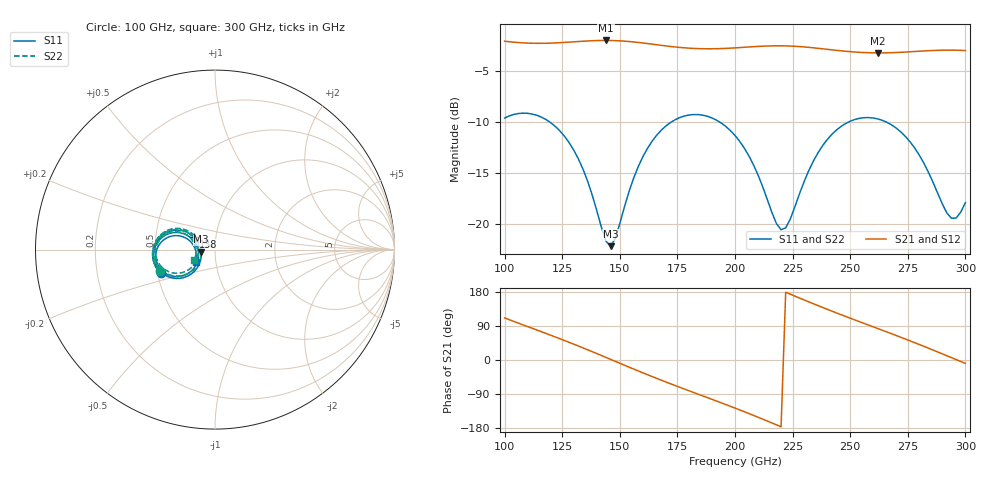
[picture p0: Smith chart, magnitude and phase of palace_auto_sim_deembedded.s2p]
! Created with skrf 1.11.0 (http://scikit-rf.org).
# GHz S DB R 50.0
!freq dBS11 angS11 dBS21 angS21 dBS12 angS12 dBS22 angS22
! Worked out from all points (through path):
!   101 points, 100 GHz to 300 GHz, reference 50 ohm
!   highest |S21| = -1.99 dB at 144 GHz (marker M1); lowest = -3.2 dB at 262 GHz (marker M2)
!   group delay of S21, straight-line fit = 6.68 ps
!   lowest |S11| = -22.2 dB at 146 GHz (marker M3), VSWR 1.17, Z = 42.9 - j1.06 ohm
!   |S11| at or under -10 dB: 119.6 GHz to 172.3 GHz (52.71 GHz wide, 36.1 % of centre); 193.3 GHz to 249.3 GHz (55.93 GHz wide, 25.3 % of centre); 265.7 GHz to end of sweep
!   |S22| runs from -22.2 to -9.1 dB; largest |S21 - S12| = 9e-14
!   S11 on the Smith chart (normalised r, x): 100 GHz: 0.52, -0.15; 138 GHz: 0.78, +0.11; 300 GHz: 0.80, -0.11
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100  -9.60 -156.5  -2.07 111.0  -2.07 111.0  -9.62 -158.6
108  -9.13 -171.4  -2.23 92.7  -2.23 92.7  -9.14 -173.7
118  -9.76 170.6  -2.27 70.0  -2.27 70.0  -9.77 168.1
126  -11.40 157.4  -2.19 51.4  -2.19 51.4  -11.41 154.8
134  -14.61 148.2  -2.07 32.0  -2.07 32.0  -14.62 145.5
138  -17.14 148.7  -2.02 22.0  -2.02 22.0  -17.16 145.9
144  -21.69 172.0  -1.99 6.8  -1.99 6.8  -21.69 169.0
146  -22.18 -171.0  -2.00 1.7  -2.00 1.7  -22.18 -174.0
158  -14.37 -134.3  -2.19 -28.9  -2.19 -28.9  -14.39 -137.7
168  -10.80 -146.9  -2.47 -53.3  -2.47 -53.3  -10.82 -150.5
184  -9.27 -173.8  -2.80 -90.2  -2.80 -90.2  -9.29 -177.7
200  -11.32 160.9  -2.72 -126.9  -2.72 -126.9  -11.34 156.6
210  -15.20 152.8  -2.58 -151.1  -2.58 -151.1  -15.23 148.2
220  -20.56 -176.2  -2.52 -176.2  -2.52 -176.2  -20.66 179.1
224  -19.51 -152.0  -2.54 173.6  -2.54 173.6  -19.60 -156.5
234  -13.84 -138.6  -2.71 148.5  -2.71 148.5  -13.88 -143.3
248  -10.15 -155.9  -3.05 115.0  -3.05 115.0  -10.18 -161.0
262  -9.69 -178.0  -3.21 83.0  -3.21 83.0  -9.72 176.7
268  -10.28 173.0  -3.19 69.2  -3.19 69.2  -10.32 167.5
280  -13.25 159.1  -3.05 40.9  -3.05 40.9  -13.28 153.4
294  -19.45 -175.3  -2.94 6.1  -2.94 6.1  -19.46 178.6
300  -17.90 -147.7  -2.99 -9.0  -2.99 -9.0  -17.92 -154.0
